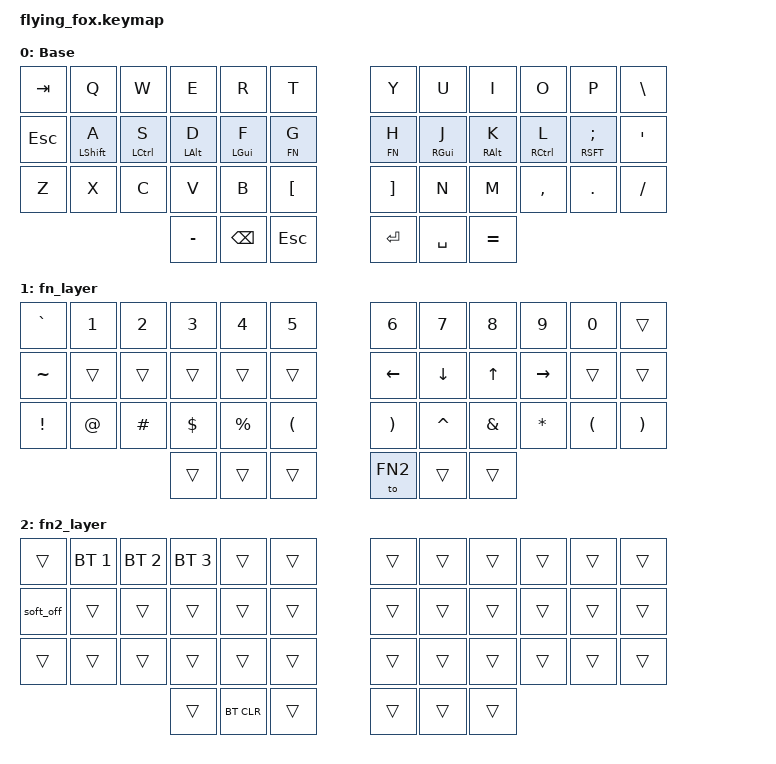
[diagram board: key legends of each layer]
#include <behaviors.dtsi>
#include <dt-bindings/zmk/keys.h>
#include <dt-bindings/zmk/bt.h>
#include <dt-bindings/zmk/outputs.h>

#define DEFAULT 0
#define FN		1
#define FN2		2

#define KEYS_L	GRAVE N1 N2 N3 N4 N5 N6			\
				TAB Q W E R T					\
					A S D F G					\
					Z X C V B					\
				SPACE LEFT DOWN RIGHT

#define KEYS_R	N7 N8 N9 N0 MINUS EQUAL BSPC	\
				Y U I O P LBKT RBKT BSLH		\
				H J K L SEMI SQT RET			\
				N M COMMA DOT FSLH UP			\
				SPACE LEFT DOWN RIGHT

/ {
	behaviors {
        hml: home_row_mod_left {
            compatible					= "zmk,behavior-hold-tap";
            #binding-cells				= <2>;
            flavor						= "balanced";
            require-prior-idle-ms		= <150>;
            tapping-term-ms				= <280>;
            quick-tap-ms				= <175>;
			bindings					= <&kp>, <&kp>;
            hold-trigger-key-positions	= < KEYS_R >;
            hold-trigger-on-release;
        };
        hmr: home_row_mod_right {
            compatible					= "zmk,behavior-hold-tap";
            #binding-cells				= <2>;
            flavor						= "balanced";
            require-prior-idle-ms		= <150>;
            tapping-term-ms				= <280>;
            quick-tap-ms				= <175>;
			bindings					= <&kp>, <&kp>;
            hold-trigger-key-positions	= < KEYS_L >;
            hold-trigger-on-release;
        };

        hll: home_row_layer_left {
            compatible					= "zmk,behavior-hold-tap";
            #binding-cells				= <2>;
            flavor						= "balanced";
            require-prior-idle-ms		= <150>;
            tapping-term-ms				= <280>;
            quick-tap-ms				= <175>;
			bindings					= <&mo>, <&kp>;
            hold-trigger-key-positions	= < KEYS_R >;
            hold-trigger-on-release;
        };
        hlr: home_row_layer_right {
            compatible					= "zmk,behavior-hold-tap";
            #binding-cells				= <2>;
            flavor						= "balanced";
            require-prior-idle-ms		= <150>;
            tapping-term-ms				= <280>;
            quick-tap-ms				= <175>;
			bindings					= <&mo>, <&kp>;
            hold-trigger-key-positions	= < KEYS_L >;
            hold-trigger-on-release;
        };

    };

     keymap {
         compatible = "zmk,keymap";
 
         default_layer {
            display-name = "Base";
             bindings = <
/* Left side */																							/* Right side */
&kp TAB			&kp Q			&kp W			&kp E		&kp R			&kp T										&kp Y		&kp U		&kp I			&kp O			&kp P			&kp BSLH
&kp ESC			&hml LSHFT A	&hml LCTL S		&hml LALT D	&hml LGUI F		&hll FN G									&hlr FN H	&hmr RGUI J	&hmr RALT K		&hmr RCTL L	 	&hmr RSFT SEMI	&kp SQT
				&kp Z			&kp X			&kp C		&kp V			&kp B		&kp LBKT		&kp RBKT		&kp N		&kp M		&kp COMMA		&kp DOT			&kp FSLH
															&kp MINUS		&kp BSPC	&kp ESC			&kp RET			&kp SPACE	&kp EQUAL
            >;
        };

		/* fn+<...> */
        fn_layer {
            bindings = <
/* Left side */																							/* Right side */
&kp GRAVE		&kp N1			&kp N2			&kp N3		&kp N4			&kp N5										&kp N6		&kp N7		&kp N8			&kp N9			&kp N0			&trans
&kp TILDE		&trans			&trans			&trans		&trans			&trans										&kp LEFT	&kp DOWN	&kp UP			&kp RIGHT		&trans			&trans
				&kp EXCL		&kp AT			&kp HASH	&kp DLLR		&kp PRCNT	&kp LPAR		&kp RPAR		&kp CARET	&kp AMPS	&kp STAR		&kp LPAR		&kp RPAR
															&trans			&trans		&trans			&to FN2			&trans		&trans
            >;
        };

		/* fn+tab+<...> */
        fn2_layer {
            bindings = <
/* Left side */																							/* Right side */
&trans			&bt BT_SEL 1	&bt BT_SEL 2	&bt BT_SEL 3 &trans			&trans										&trans	 	&trans		&trans			&trans	 		&trans			&trans
&soft_off		&trans			&trans			&trans		&trans			&trans										&trans		&trans		&trans			&trans			&trans			&trans
				&trans			&trans			&trans		&trans			&trans		&trans			&trans			&trans	 	&trans		&trans			&trans			&trans
															&trans			&bt BT_CLR	&trans			&trans			&trans		&trans
             >;
         };
     };
 };

